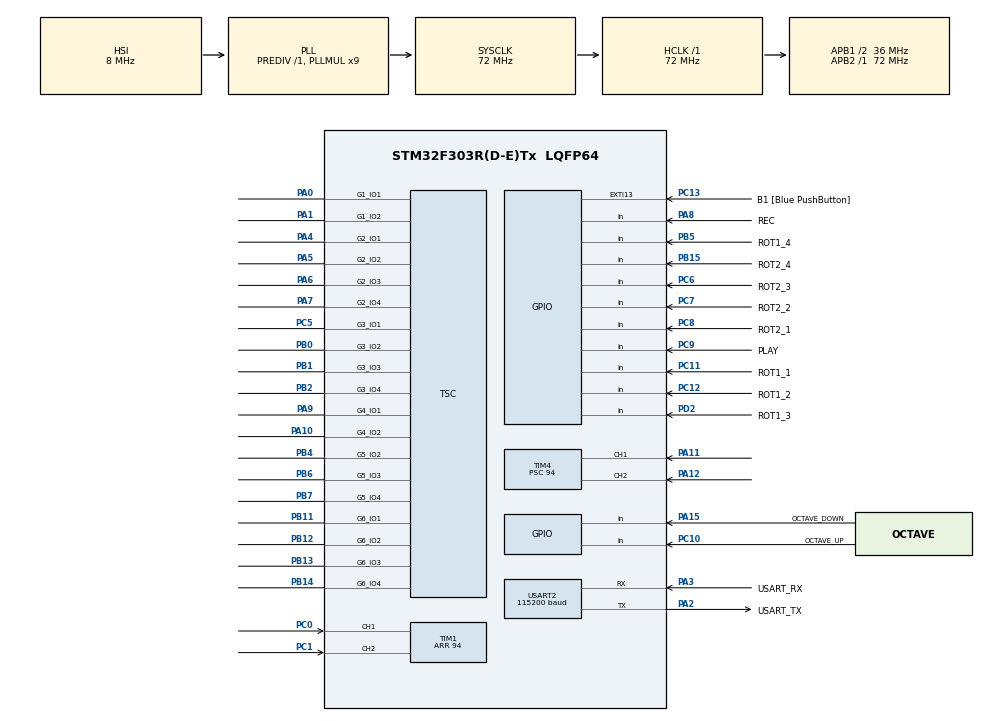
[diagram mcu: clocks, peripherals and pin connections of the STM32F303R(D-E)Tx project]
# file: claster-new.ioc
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Mcu.Family=STM32F3
Mcu.Name=STM32F303R(D-E)Tx
Mcu.Package=LQFP64
NVIC.PriorityGroup=NVIC_PRIORITYGROUP_0
NVIC.TIM1_TRG_COM_TIM17_IRQn=true\:0\:0\:false\:false\:true\:true\:true
PA0.Mode=G1_IO1-Sampling
PA0.Signal=TSC_G1_IO1
PA1.Mode=G1_IO2-Channel
PA1.Signal=TSC_G1_IO2
PA10.Mode=G4_IO2-Channel
PA10.Signal=TSC_G4_IO2
PA11.Signal=S_TIM4_CH1
PA12.Signal=S_TIM4_CH2
PA13.GPIO_Label=TMS
PA13.Mode=Serial_Wire
PA13.Signal=SYS_JTMS-SWDIO
PA14.GPIO_Label=TCK
PA14.Mode=Serial_Wire
PA14.Signal=SYS_JTCK-SWCLK
PA15.GPIO_Label=OCTAVE_DOWN
PA15.Signal=GPIO_Input
PA2.GPIO_Label=USART_TX
PA2.GPIO_Mode=GPIO_MODE_AF_PP
PA2.GPIO_PuPd=GPIO_NOPULL
PA2.GPIO_Speed=GPIO_SPEED_FREQ_LOW
PA2.Mode=Asynchronous
PA2.Signal=USART2_TX
PA3.GPIO_Label=USART_RX
PA3.GPIO_Mode=GPIO_MODE_AF_PP
PA3.GPIO_PuPd=GPIO_NOPULL
PA3.GPIO_Speed=GPIO_SPEED_FREQ_LOW
PA3.Mode=Asynchronous
PA3.Signal=USART2_RX
PA4.Mode=G2_IO1-Sampling
PA4.Signal=TSC_G2_IO1
PA5.Mode=G2_IO2-Channel
PA5.Signal=TSC_G2_IO2
PA6.Mode=G2_IO3-Channel
PA6.Signal=TSC_G2_IO3
PA7.Mode=G2_IO4-Channel
PA7.Signal=TSC_G2_IO4
PA8.GPIO_Label=REC
PA8.GPIO_PuPd=GPIO_PULLUP
PA8.Signal=GPIO_Input
PA9.Mode=G4_IO1-Sampling
PA9.Signal=TSC_G4_IO1
PB0.Mode=G3_IO2-Channel
PB0.Signal=TSC_G3_IO2
PB1.Mode=G3_IO3-Channel
PB1.Signal=TSC_G3_IO3
PB11.Mode=G6_IO1-Sampling
PB11.Signal=TSC_G6_IO1
PB12.Mode=G6_IO2-Channel
PB12.Signal=TSC_G6_IO2
PB13.Mode=G6_IO3-Channel
PB13.Signal=TSC_G6_IO3
PB14.Mode=G6_IO4-Channel
PB14.Signal=TSC_G6_IO4
PB15.GPIO_Label=ROT2_4
PB15.Signal=GPIO_Input
PB2.Mode=G3_IO4-Channel
PB2.Signal=TSC_G3_IO4
PB3.GPIO_Label=SWO
PB3.Signal=SYS_JTDO-TRACESWO
PB4.Mode=G5_IO2-Sampling
PB4.Signal=TSC_G5_IO2
PB5.GPIO_Label=ROT1_4
PB5.Signal=GPIO_Input
PB6.Mode=G5_IO3-Channel
PB6.Signal=TSC_G5_IO3
PB7.Mode=G5_IO4-Channel
PB7.Signal=TSC_G5_IO4
PC0.Signal=S_TIM1_CH1
PC1.Signal=S_TIM1_CH2
PC10.GPIO_Label=OCTAVE_UP
PC10.Signal=GPIO_Input
PC11.GPIO_Label=ROT1_1
PC11.Signal=GPIO_Input
PC12.GPIO_Label=ROT1_2
PC12.Signal=GPIO_Input
PC13.GPIO_Label=B1 [Blue PushButton]
PC13.GPIO_ModeDefaultEXTI=GPIO_MODE_IT_FALLING
PC13.Signal=GPXTI13
PC14-OSC32_IN.Mode=LSE-External-Oscillator
PC14-OSC32_IN.Signal=RCC_OSC32_IN
PC15-OSC32_OUT.Mode=LSE-External-Oscillator
PC15-OSC32_OUT.Signal=RCC_OSC32_OUT
PC5.Mode=G3_IO1-Sampling
PC5.Signal=TSC_G3_IO1
PC6.GPIO_Label=ROT2_3
PC6.Signal=GPIO_Input
PC7.GPIO_Label=ROT2_2
PC7.Signal=GPIO_Input
PC8.GPIO_Label=ROT2_1
PC8.Signal=GPIO_Input
PC9.GPIO_Label=PLAY
PC9.GPIO_PuPd=GPIO_PULLUP
PC9.Signal=GPIO_Input
PD2.GPIO_Label=ROT1_3
PD2.Signal=GPIO_Input
PF0-OSC_IN.Mode=HSE-External-Clock-Source
PF0-OSC_IN.Signal=RCC_OSC_IN
PF1-OSC_OUT.Signal=RCC_OSC_OUT
ProjectManager.HeapSize=0x200
ProjectManager.StackSize=0x400
ProjectManager.TargetToolchain=STM32CubeIDE
RCC.AHBFreq_Value=72000000
RCC.APB1CLKDivider=RCC_HCLK_DIV2
RCC.APB1Freq_Value=36000000
RCC.APB1TimFreq_Value=72000000
RCC.APB2Freq_Value=72000000
RCC.APB2TimFreq_Value=72000000
RCC.CortexFreq_Value=72000000
RCC.HCLKFreq_Value=72000000
RCC.HSE_VALUE=8000000
RCC.HSI_VALUE=8000000
RCC.PLLM=8
RCC.PLLMUL=RCC_PLL_MUL9
RCC.PLLN=336
RCC.PLLP=RCC_PLLP_DIV4
RCC.PLLQ=7
RCC.RCC_PLLsource_Clock_Source_FROM_HSE=RCC_HSE_PREDIV_DIV2
RCC.SYSCLKFreq_VALUE=72000000
RCC.SYSCLKSourceVirtual=RCC_SYSCLKSOURCE_PLLCLK
RCC.USBFreq_Value=72000000
SH.S_TIM1_CH1.0=TIM1_CH1,Encoder_Interface
SH.S_TIM1_CH2.0=TIM1_CH2,Encoder_Interface
SH.S_TIM4_CH1.0=TIM4_CH1,Encoder_Interface
SH.S_TIM4_CH2.0=TIM4_CH2,Encoder_Interface
TIM1.AutoReloadPreload=TIM_AUTORELOAD_PRELOAD_DISABLE
TIM1.CounterMode=TIM_COUNTERMODE_UP
TIM1.EncoderMode=TIM_ENCODERMODE_TI12
TIM1.IC1Filter=8
TIM1.IC2Filter=8
TIM1.Period=94
TIM4.EncoderMode=TIM_ENCODERMODE_TI12
TIM4.IC1Filter=8
TIM4.IC2Filter=8
TIM4.Prescaler=94
TOUCHSENSING.IO_TOUCHKEY10=G6_IO3
TOUCHSENSING.IO_TOUCHKEY11=G2_IO4
TOUCHSENSING.IO_TOUCHKEY12=G3_IO4
TOUCHSENSING.IO_TOUCHKEY13=G6_IO4
TOUCHSENSING.IO_TOUCHKEY2=G2_IO2
TOUCHSENSING.IO_TOUCHKEY3=G3_IO2
TOUCHSENSING.IO_TOUCHKEY4=G4_IO2
TOUCHSENSING.IO_TOUCHKEY5=G5_IO3
TOUCHSENSING.IO_TOUCHKEY6=G6_IO2
TOUCHSENSING.IO_TOUCHKEY7=G2_IO3
TOUCHSENSING.IO_TOUCHKEY8=G3_IO3
TOUCHSENSING.IO_TOUCHKEY9=G5_IO4
TOUCHSENSING.IO_TOUCHKEY_B1=G3_IO2
TOUCHSENSING.IO_TOUCHKEY_B10=G6_IO4
TOUCHSENSING.IO_TOUCHKEY_B11=G6_IO3
TOUCHSENSING.IO_TOUCHKEY_B12=G5_IO4
TOUCHSENSING.IO_TOUCHKEY_B13=G4_IO2
TOUCHSENSING.IO_TOUCHKEY_B2=G2_IO3
TOUCHSENSING.IO_TOUCHKEY_B3=G1_IO2
TOUCHSENSING.IO_TOUCHKEY_B4=G3_IO4
TOUCHSENSING.IO_TOUCHKEY_B5=G6_IO2
TOUCHSENSING.IO_TOUCHKEY_B6=G2_IO4
TOUCHSENSING.IO_TOUCHKEY_B7=G2_IO2
TOUCHSENSING.IO_TOUCHKEY_B8=G5_IO3
TOUCHSENSING.IO_TOUCHKEY_B9=G3_IO3
TOUCHSENSING.TSLPRM_SENSORS_DATAS=TSLPRM_TOTAL_TOUCHKEYS_B 4 3 3 4 3 
TOUCHSENSING.TSLPRM_TOTAL_TOUCHKEYS=0
TOUCHSENSING.TSLPRM_TOTAL_TOUCHKEYS_B=13
TSC.ChannelIOs-G1_IO2=TSC_GROUP1_IO2
TSC.ChannelIOs-G2_IO2=TSC_GROUP2_IO2
TSC.ChannelIOs-G2_IO3=TSC_GROUP2_IO3
TSC.ChannelIOs-G2_IO4=TSC_GROUP2_IO4
TSC.ChannelIOs-G3_IO2=TSC_GROUP3_IO2
TSC.ChannelIOs-G3_IO3=TSC_GROUP3_IO3
TSC.ChannelIOs-G3_IO4=TSC_GROUP3_IO4
TSC.ChannelIOs-G4_IO2=TSC_GROUP4_IO2
TSC.ChannelIOs-G5_IO3=TSC_GROUP5_IO3
TSC.ChannelIOs-G5_IO4=TSC_GROUP5_IO4
TSC.ChannelIOs-G6_IO2=TSC_GROUP6_IO2
TSC.ChannelIOs-G6_IO3=TSC_GROUP6_IO3
TSC.ChannelIOs-G6_IO4=TSC_GROUP6_IO4
TSC.SamplingIOs-G1_IO1=TSC_GROUP1_IO1
TSC.SamplingIOs-G2_IO1=TSC_GROUP2_IO1
TSC.SamplingIOs-G3_IO1=TSC_GROUP3_IO1
TSC.SamplingIOs-G4_IO1=TSC_GROUP4_IO1
TSC.SamplingIOs-G5_IO2=TSC_GROUP5_IO2
TSC.SamplingIOs-G6_IO1=TSC_GROUP6_IO1
USART2.BaudRate=115200
USART2.VirtualMode-Asynchronous=VM_ASYNC
VP_TOUCHSENSING_VS_TOUCHSENSING.Mode=TouchSensing_Enabled
board=NUCLEO-F303RE

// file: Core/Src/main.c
/* USER CODE BEGIN Header */
/**
  ******************************************************************************
  * @file           : main.c
  * @brief          : Main program body
  ******************************************************************************
  * @attention
  *
  * <h2><center>&copy; Copyright (c) 2020 STMicroelectronics.
  * All rights reserved.</center></h2>
  *
  * This software component is licensed by ST under BSD 3-Clause license,
  * the "License"; You may not use this file except in compliance with the
  * License. You may obtain a copy of the License at:
  *                        opensource.org/licenses/BSD-3-Clause
  *
  ******************************************************************************
  */
/* USER CODE END Header */

#include "main.h"
#include "touchsensing.h"

/* USER CODE BEGIN Includes */
#include <stdio.h>
#include "touch-piano.h"
#include "sequencer.h"
/* USER CODE END Includes */

TIM_HandleTypeDef htim1;
TIM_HandleTypeDef htim4;

TSC_HandleTypeDef htsc;

UART_HandleTypeDef huart2;

/* USER CODE BEGIN PV */
PIANO_HandleTypeDef hpiano;

/* USER CODE END PV */

void SystemClock_Config(void);
static void MX_GPIO_Init(void);
static void MX_USART2_UART_Init(void);
static void MX_TIM1_Init(void);
static void MX_TIM4_Init(void);
static void MX_TSC_Init(void);

/* USER CODE BEGIN 0 */
int _write (int file, char* ptr, int len){
	HAL_UART_Transmit(&huart2 , ptr , len ,50);
	return  len;
}

/* USER CODE END 0 */

int main(void)
{
  /* USER CODE BEGIN 1 */
	PIANO_Sequence sequence;
  /* USER CODE END 1 */

  /* MCU Configuration--------------------------------------------------------*/

  /* Reset of all peripherals, Initializes the Flash interface and the Systick. */
  HAL_Init();

  /* Configure the system clock */
  SystemClock_Config();

  /* Initialize all configured peripherals */
  MX_GPIO_Init();
  MX_USART2_UART_Init();
  MX_TIM1_Init();
  MX_TIM4_Init();
  MX_TSC_Init();
  MX_TOUCHSENSING_Init();
  /* USER CODE BEGIN 2 */
  HAL_TIM_Encoder_Start(&htim1, TIM_CHANNEL_ALL);
  HAL_TIM_Encoder_Start(&htim4, TIM_CHANNEL_ALL);
  uint8_t isInPlay = 0, isInRecord = 0, pressed_key = 0;
  uint32_t seq_time;
  pianoInit(&hpiano, &huart2);
  initSequence(&sequence, &huart2);
  /* USER CODE END 2 */

  /* Infinite loop */
  while (1)
  {

    /* USER CODE BEGIN 3 */
	  seq_time = 200 + TIM1->CNT * 10;
	  pressed_key = runTouchStateMachine(&hpiano);

	  if (HAL_GPIO_ReadPin(PLAY_GPIO_Port, PLAY_Pin) == GPIO_PIN_SET || isInRecord == 1){
		  if (isInRecord == 0){
			  isInRecord = 1;
			  resetNotes(&sequence);
		  }
		  if (pressed_key != 0){
			  addToSequence(&sequence, pressed_key);
		  }
		  if (HAL_GPIO_ReadPin(PLAY_GPIO_Port, PLAY_Pin) == GPIO_PIN_RESET){
			  isInRecord = 0;
			  resetCounters(&sequence);
		  }
	  }

	  else if (HAL_GPIO_ReadPin(REC_GPIO_Port, REC_Pin) == GPIO_PIN_SET || isInPlay == 1){
		  isInPlay = 1;
		  if (playNoteFromSequence(&sequence, seq_time) == HAL_TIMEOUT && HAL_GPIO_ReadPin(REC_GPIO_Port, REC_Pin) == GPIO_PIN_RESET){
			  isInPlay = 0;
			  resetCounters(&sequence);
		  }
	  }

  }
  /* USER CODE END 3 */
}

void SystemClock_Config(void)
{
  RCC_OscInitTypeDef RCC_OscInitStruct = {0};
  RCC_ClkInitTypeDef RCC_ClkInitStruct = {0};
  RCC_PeriphCLKInitTypeDef PeriphClkInit = {0};

  /** Initializes the CPU, AHB and APB busses clocks
  */
  RCC_OscInitStruct.OscillatorType = RCC_OSCILLATORTYPE_HSI;
  RCC_OscInitStruct.HSIState = RCC_HSI_ON;
  RCC_OscInitStruct.HSICalibrationValue = RCC_HSICALIBRATION_DEFAULT;
  RCC_OscInitStruct.PLL.PLLState = RCC_PLL_ON;
  RCC_OscInitStruct.PLL.PLLSource = RCC_PLLSOURCE_HSI;
  RCC_OscInitStruct.PLL.PLLMUL = RCC_PLL_MUL9;
  RCC_OscInitStruct.PLL.PREDIV = RCC_PREDIV_DIV1;
  if (HAL_RCC_OscConfig(&RCC_OscInitStruct) != HAL_OK)
  {
    Error_Handler();
  }
  /** Initializes the CPU, AHB and APB busses clocks
  */
  RCC_ClkInitStruct.ClockType = RCC_CLOCKTYPE_HCLK|RCC_CLOCKTYPE_SYSCLK
                              |RCC_CLOCKTYPE_PCLK1|RCC_CLOCKTYPE_PCLK2;
  RCC_ClkInitStruct.SYSCLKSource = RCC_SYSCLKSOURCE_PLLCLK;
  RCC_ClkInitStruct.AHBCLKDivider = RCC_SYSCLK_DIV1;
  RCC_ClkInitStruct.APB1CLKDivider = RCC_HCLK_DIV2;
  RCC_ClkInitStruct.APB2CLKDivider = RCC_HCLK_DIV1;

  if (HAL_RCC_ClockConfig(&RCC_ClkInitStruct, FLASH_LATENCY_2) != HAL_OK)
  {
    Error_Handler();
  }
  PeriphClkInit.PeriphClockSelection = RCC_PERIPHCLK_USART2|RCC_PERIPHCLK_TIM1
                              |RCC_PERIPHCLK_TIM34;
  PeriphClkInit.Usart2ClockSelection = RCC_USART2CLKSOURCE_PCLK1;
  PeriphClkInit.Tim1ClockSelection = RCC_TIM1CLK_HCLK;
  PeriphClkInit.Tim34ClockSelection = RCC_TIM34CLK_HCLK;
  if (HAL_RCCEx_PeriphCLKConfig(&PeriphClkInit) != HAL_OK)
  {
    Error_Handler();
  }
}

static void MX_TIM1_Init(void)
{

  TIM_Encoder_InitTypeDef sConfig = {0};
  TIM_MasterConfigTypeDef sMasterConfig = {0};

  htim1.Instance = TIM1;
  htim1.Init.Prescaler = 0;
  htim1.Init.CounterMode = TIM_COUNTERMODE_UP;
  htim1.Init.Period = 94;
  htim1.Init.ClockDivision = TIM_CLOCKDIVISION_DIV1;
  htim1.Init.RepetitionCounter = 0;
  htim1.Init.AutoReloadPreload = TIM_AUTORELOAD_PRELOAD_DISABLE;
  sConfig.EncoderMode = TIM_ENCODERMODE_TI12;
  sConfig.IC1Polarity = TIM_ICPOLARITY_RISING;
  sConfig.IC1Selection = TIM_ICSELECTION_DIRECTTI;
  sConfig.IC1Prescaler = TIM_ICPSC_DIV1;
  sConfig.IC1Filter = 8;
  sConfig.IC2Polarity = TIM_ICPOLARITY_RISING;
  sConfig.IC2Selection = TIM_ICSELECTION_DIRECTTI;
  sConfig.IC2Prescaler = TIM_ICPSC_DIV1;
  sConfig.IC2Filter = 8;
  if (HAL_TIM_Encoder_Init(&htim1, &sConfig) != HAL_OK)
  {
    Error_Handler();
  }
  sMasterConfig.MasterOutputTrigger = TIM_TRGO_RESET;
  sMasterConfig.MasterOutputTrigger2 = TIM_TRGO2_RESET;
  sMasterConfig.MasterSlaveMode = TIM_MASTERSLAVEMODE_DISABLE;
  if (HAL_TIMEx_MasterConfigSynchronization(&htim1, &sMasterConfig) != HAL_OK)
  {
    Error_Handler();
  }

}

static void MX_TIM4_Init(void)
{

  TIM_Encoder_InitTypeDef sConfig = {0};
  TIM_MasterConfigTypeDef sMasterConfig = {0};

  htim4.Instance = TIM4;
  htim4.Init.Prescaler = 94;
  htim4.Init.CounterMode = TIM_COUNTERMODE_UP;
  htim4.Init.Period = 0;
  htim4.Init.ClockDivision = TIM_CLOCKDIVISION_DIV1;
  htim4.Init.AutoReloadPreload = TIM_AUTORELOAD_PRELOAD_DISABLE;
  sConfig.EncoderMode = TIM_ENCODERMODE_TI12;
  sConfig.IC1Polarity = TIM_ICPOLARITY_RISING;
  sConfig.IC1Selection = TIM_ICSELECTION_DIRECTTI;
  sConfig.IC1Prescaler = TIM_ICPSC_DIV1;
  sConfig.IC1Filter = 8;
  sConfig.IC2Polarity = TIM_ICPOLARITY_RISING;
  sConfig.IC2Selection = TIM_ICSELECTION_DIRECTTI;
  sConfig.IC2Prescaler = TIM_ICPSC_DIV1;
  sConfig.IC2Filter = 8;
  if (HAL_TIM_Encoder_Init(&htim4, &sConfig) != HAL_OK)
  {
    Error_Handler();
  }
  sMasterConfig.MasterOutputTrigger = TIM_TRGO_RESET;
  sMasterConfig.MasterSlaveMode = TIM_MASTERSLAVEMODE_DISABLE;
  if (HAL_TIMEx_MasterConfigSynchronization(&htim4, &sMasterConfig) != HAL_OK)
  {
    Error_Handler();
  }

}

static void MX_TSC_Init(void)
{

  /** Configure the TSC peripheral
  */
  htsc.Instance = TSC;
  htsc.Init.CTPulseHighLength = TSC_CTPH_2CYCLES;
  htsc.Init.CTPulseLowLength = TSC_CTPL_2CYCLES;
  htsc.Init.SpreadSpectrum = DISABLE;
  htsc.Init.SpreadSpectrumDeviation = 1;
  htsc.Init.SpreadSpectrumPrescaler = TSC_SS_PRESC_DIV1;
  htsc.Init.PulseGeneratorPrescaler = TSC_PG_PRESC_DIV4;
  htsc.Init.MaxCountValue = TSC_MCV_8191;
  htsc.Init.IODefaultMode = TSC_IODEF_OUT_PP_LOW;
  htsc.Init.SynchroPinPolarity = TSC_SYNC_POLARITY_FALLING;
  htsc.Init.AcquisitionMode = TSC_ACQ_MODE_NORMAL;
  htsc.Init.MaxCountInterrupt = DISABLE;
  htsc.Init.ChannelIOs = TSC_GROUP1_IO2|TSC_GROUP2_IO2|TSC_GROUP2_IO3|TSC_GROUP2_IO4
                    |TSC_GROUP3_IO2|TSC_GROUP3_IO3|TSC_GROUP3_IO4|TSC_GROUP4_IO2
                    |TSC_GROUP5_IO3|TSC_GROUP5_IO4|TSC_GROUP6_IO2|TSC_GROUP6_IO3
                    |TSC_GROUP6_IO4;
  htsc.Init.ShieldIOs = 0;
  htsc.Init.SamplingIOs = TSC_GROUP1_IO1|TSC_GROUP2_IO1|TSC_GROUP3_IO1|TSC_GROUP4_IO1
                    |TSC_GROUP5_IO2|TSC_GROUP6_IO1;
  if (HAL_TSC_Init(&htsc) != HAL_OK)
  {
    Error_Handler();
  }

}

static void MX_USART2_UART_Init(void)
{

  huart2.Instance = USART2;
  huart2.Init.BaudRate = 115200;
  huart2.Init.WordLength = UART_WORDLENGTH_8B;
  huart2.Init.StopBits = UART_STOPBITS_1;
  huart2.Init.Parity = UART_PARITY_NONE;
  huart2.Init.Mode = UART_MODE_TX_RX;
  huart2.Init.HwFlowCtl = UART_HWCONTROL_NONE;
  huart2.Init.OverSampling = UART_OVERSAMPLING_16;
  huart2.Init.OneBitSampling = UART_ONE_BIT_SAMPLE_DISABLE;
  huart2.AdvancedInit.AdvFeatureInit = UART_ADVFEATURE_NO_INIT;
  if (HAL_UART_Init(&huart2) != HAL_OK)
  {
    Error_Handler();
  }

}

static void MX_GPIO_Init(void)
{
  GPIO_InitTypeDef GPIO_InitStruct = {0};

  /* GPIO Ports Clock Enable */
  __HAL_RCC_GPIOC_CLK_ENABLE();
  __HAL_RCC_GPIOF_CLK_ENABLE();
  __HAL_RCC_GPIOA_CLK_ENABLE();
  __HAL_RCC_GPIOB_CLK_ENABLE();
  __HAL_RCC_GPIOD_CLK_ENABLE();

  /*Configure GPIO pin : B1_Pin */
  GPIO_InitStruct.Pin = B1_Pin;
  GPIO_InitStruct.Mode = GPIO_MODE_IT_FALLING;
  GPIO_InitStruct.Pull = GPIO_NOPULL;
  HAL_GPIO_Init(B1_GPIO_Port, &GPIO_InitStruct);

  /*Configure GPIO pins : ROT2_4_Pin ROT1_4_Pin */
  GPIO_InitStruct.Pin = ROT2_4_Pin|ROT1_4_Pin;
  GPIO_InitStruct.Mode = GPIO_MODE_INPUT;
  GPIO_InitStruct.Pull = GPIO_NOPULL;
  HAL_GPIO_Init(GPIOB, &GPIO_InitStruct);

  /*Configure GPIO pins : ROT2_3_Pin ROT2_2_Pin ROT2_1_Pin OCTAVE_UP_Pin
                           ROT1_1_Pin ROT1_2_Pin */
  GPIO_InitStruct.Pin = ROT2_3_Pin|ROT2_2_Pin|ROT2_1_Pin|OCTAVE_UP_Pin
                          |ROT1_1_Pin|ROT1_2_Pin;
  GPIO_InitStruct.Mode = GPIO_MODE_INPUT;
  GPIO_InitStruct.Pull = GPIO_NOPULL;
  HAL_GPIO_Init(GPIOC, &GPIO_InitStruct);

  /*Configure GPIO pin : PLAY_Pin */
  GPIO_InitStruct.Pin = PLAY_Pin;
  GPIO_InitStruct.Mode = GPIO_MODE_INPUT;
  GPIO_InitStruct.Pull = GPIO_PULLUP;
  HAL_GPIO_Init(PLAY_GPIO_Port, &GPIO_InitStruct);

  /*Configure GPIO pin : REC_Pin */
  GPIO_InitStruct.Pin = REC_Pin;
  GPIO_InitStruct.Mode = GPIO_MODE_INPUT;
  GPIO_InitStruct.Pull = GPIO_PULLUP;
  HAL_GPIO_Init(REC_GPIO_Port, &GPIO_InitStruct);

  /*Configure GPIO pin : OCTAVE_DOWN_Pin */
  GPIO_InitStruct.Pin = OCTAVE_DOWN_Pin;
  GPIO_InitStruct.Mode = GPIO_MODE_INPUT;
  GPIO_InitStruct.Pull = GPIO_NOPULL;
  HAL_GPIO_Init(OCTAVE_DOWN_GPIO_Port, &GPIO_InitStruct);

  /*Configure GPIO pin : ROT1_3_Pin */
  GPIO_InitStruct.Pin = ROT1_3_Pin;
  GPIO_InitStruct.Mode = GPIO_MODE_INPUT;
  GPIO_InitStruct.Pull = GPIO_NOPULL;
  HAL_GPIO_Init(ROT1_3_GPIO_Port, &GPIO_InitStruct);

}

void Error_Handler(void)
{
}

/************************ (C) COPYRIGHT STMicroelectronics *****END OF FILE****/
